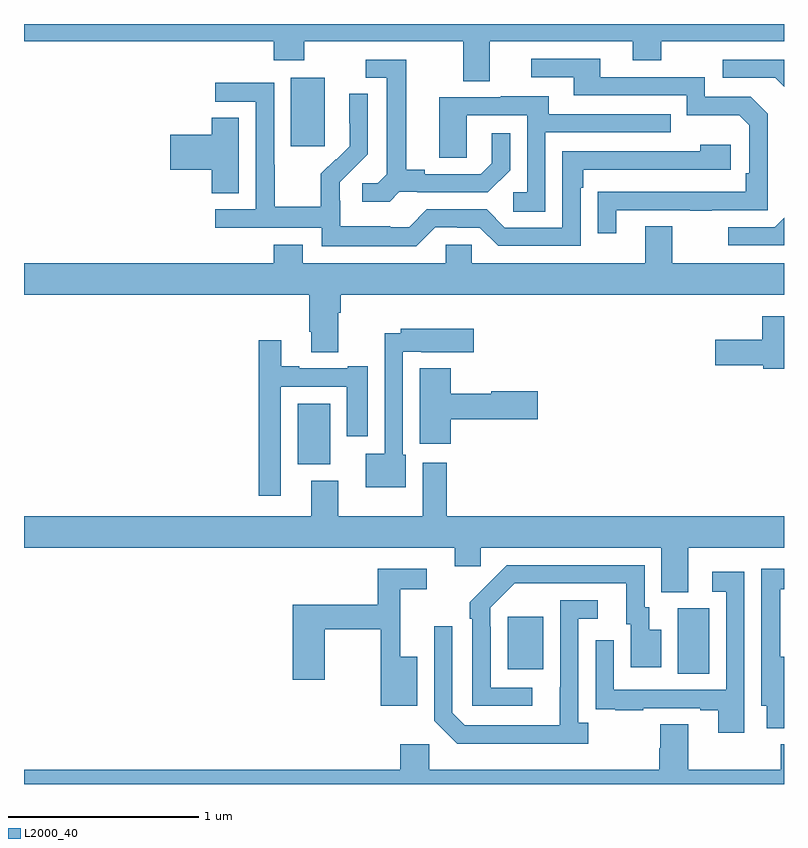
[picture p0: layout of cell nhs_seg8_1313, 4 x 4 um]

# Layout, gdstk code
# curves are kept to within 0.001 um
import gdstk
lib = gdstk.Library(unit=1e-6, precision=1e-09)
def R(c, l, rs):  # rectangles x0, y0, x1, y1
    for r in rs: c.add(gdstk.rectangle(r[:2], r[2:], *l))
def P(c, l, *ps):  # polygons
    for p in ps: c.add(gdstk.Polygon(p, *l))
L2000_40 = (2000, 40)

nhs_seg8_1313 = lib.new_cell('nhs_seg8_1313')
R(nhs_seg8_1313, L2000_40, [(196.442,1138.48,196.606,1138.824), (195.545,1138.505,195.733,1138.78), (194.441,1139.582,194.611,1139.902), (194.405,1141.257,194.584,1141.618)])
P(nhs_seg8_1313, L2000_40, [(195.451,1141.808),(196.205,1141.808),(196.205,1141.709),(196.353,1141.709),(196.353,1141.808),(197,1141.808),(197,1141.9),(193,1141.9),(193,1141.808),(194.315,1141.808),(194.315,1141.709),(194.475,1141.709),(194.475,1141.808),(195.311,1141.808),(195.311,1141.6),(195.451,1141.6)],
  [(196.117,1140.921),(196.507,1140.921),(196.507,1140.916),(196.619,1140.916),(196.619,1140.921),(196.914,1140.921),(196.914,1141.428),(196.824,1141.518),(196.584,1141.518),(196.584,1141.62),(196.033,1141.62),(196.033,1141.716),(195.669,1141.716),(195.669,1141.62),(195.893,1141.62),(195.893,1141.524),(196.488,1141.524),(196.488,1141.421),(196.765,1141.421),(196.818,1141.368),(196.818,1141.114),(196.798,1141.114),(196.798,1141.017),(196.021,1141.016),(196.021,1140.798),(196.117,1140.798)],
  [(194.976,1141.017),(195.07,1141.017),(195.07,1141.014),(195.442,1141.014),(195.558,1141.13),(195.558,1141.324),(195.461,1141.324),(195.461,1141.167),(195.404,1141.11),(195.109,1141.11),(195.109,1141.133),(195.013,1141.133),(195.013,1141.713),(194.799,1141.713),(194.799,1141.617),(194.909,1141.617),(194.909,1141.109),(194.862,1141.062),(194.781,1141.062),(194.781,1140.965),(194.924,1140.965)],
  [(197,1141.713),(196.677,1141.713),(196.677,1141.617),(196.953,1141.617),(197,1141.57)],
  [(195.165,1140.831),(195.281,1140.831),(195.281,1140.828),(195.399,1140.828),(195.495,1140.732),(195.93,1140.732),(195.93,1141.037),(195.943,1141.037),(195.943,1141.134),(196.72,1141.134),(196.72,1141.264),(196.559,1141.264),(196.559,1141.23),(195.834,1141.23),(195.834,1140.828),(195.531,1140.828),(195.435,1140.924),(195.12,1140.924),(195.027,1140.831),(194.927,1140.831),(194.927,1140.835),(194.664,1140.835),(194.664,1140.969),(194.662,1140.969),(194.662,1141.066),(194.808,1141.214),(194.808,1141.532),(194.712,1141.532),(194.712,1141.378),(194.714,1141.378),(194.714,1141.256),(194.643,1141.185),(194.64,1141.188),(194.563,1141.111),(194.563,1140.937),(194.319,1140.937),(194.319,1141.16),(194.316,1141.16),(194.316,1141.59),(194.007,1141.59),(194.007,1141.491),(194.22,1141.491),(194.22,1140.924),(194.007,1140.924),(194.007,1140.828),(194.568,1140.828),(194.568,1140.731),(195.065,1140.731)],
  [(195.744,1141.329),(196.403,1141.329),(196.403,1141.425),(195.763,1141.425),(195.763,1141.519),(195.509,1141.519),(195.509,1141.515),(195.185,1141.515),(195.185,1141.195),(195.33,1141.195),(195.33,1141.419),(195.648,1141.419),(195.648,1141.014),(195.576,1141.014),(195.576,1140.913),(195.744,1140.913)],
  [(194.131,1141.406),(193.988,1141.406),(193.988,1141.316),(193.77,1141.316),(193.77,1141.133),(193.988,1141.133),(193.988,1141.009),(194.131,1141.009)],
  [(197,1140.881),(196.95,1140.831),(196.707,1140.831),(196.707,1140.735),(197,1140.735)],
  [(194.653,1140.38),(194.666,1140.38),(194.666,1140.476),(197,1140.476),(197,1140.64),(196.411,1140.64),(196.411,1140.835),(196.271,1140.835),(196.271,1140.64),(195.357,1140.64),(195.357,1140.738),(195.219,1140.738),(195.219,1140.64),(194.467,1140.64),(194.467,1140.739),(194.315,1140.739),(194.315,1140.64),(193,1140.64),(193,1140.476),(194.501,1140.476),(194.501,1140.28),(194.513,1140.28),(194.513,1140.172),(194.653,1140.172)],
  [(197,1140.361),(196.886,1140.361),(196.886,1140.238),(196.638,1140.238),(196.638,1140.104),(196.89,1140.104),(196.89,1140.086),(197,1140.086)],
  [(195.01,1139.634),(194.994,1139.634),(194.994,1140.174),(195.091,1140.174),(195.091,1140.173),(195.367,1140.173),(195.367,1140.295),(194.982,1140.295),(194.982,1140.272),(194.898,1140.272),(194.898,1139.638),(194.798,1139.638),(194.798,1139.462),(195.01,1139.462)],
  [(194.352,1139.991),(194.699,1139.991),(194.699,1139.73),(194.809,1139.73),(194.809,1140.1),(194.705,1140.1),(194.705,1140.087),(194.449,1140.087),(194.449,1140.1),(194.353,1140.1),(194.353,1140.235),(194.236,1140.235),(194.236,1139.418),(194.352,1139.418)],
  [(195.245,1139.819),(195.703,1139.819),(195.703,1139.966),(195.459,1139.966),(195.459,1139.953),(195.245,1139.953),(195.245,1140.088),(195.083,1140.088),(195.083,1139.691),(195.245,1139.691)],
  [(196.495,1139.144),(197,1139.144),(197,1139.308),(195.224,1139.308),(195.224,1139.59),(195.098,1139.59),(195.098,1139.308),(194.653,1139.308),(194.653,1139.497),(194.513,1139.497),(194.513,1139.308),(193,1139.308),(193,1139.144),(195.266,1139.144),(195.266,1139.046),(195.405,1139.046),(195.405,1139.144),(196.355,1139.144),(196.355,1138.909),(196.495,1138.909)],
  [(195.676,1138.407),(195.456,1138.407),(195.456,1138.727),(195.453,1138.727),(195.453,1138.827),(195.582,1138.956),(196.169,1138.956),(196.169,1138.74),(196.193,1138.74),(196.193,1138.515),(196.354,1138.515),(196.354,1138.711),(196.291,1138.711),(196.291,1138.83),(196.266,1138.83),(196.266,1139.052),(195.542,1139.052),(195.345,1138.857),(195.345,1138.769),(195.36,1138.769),(195.36,1138.311),(195.676,1138.311)],
  [(195.07,1138.57),(194.981,1138.57),(194.981,1138.926),(195.121,1138.926),(195.121,1139.034),(194.863,1139.034),(194.863,1138.843),(194.414,1138.843),(194.414,1138.449),(194.584,1138.449),(194.584,1138.714),(194.878,1138.714),(194.878,1138.313),(195.07,1138.313)],
  [(197,1138.57),(196.979,1138.57),(196.979,1138.926),(197,1138.926),(197,1139.034),(196.881,1139.034),(196.881,1138.313),(196.91,1138.313),(196.91,1138.194),(197,1138.194)],
  [(196.791,1139.017),(196.623,1139.017),(196.623,1138.911),(196.695,1138.911),(196.695,1138.395),(196.104,1138.395),(196.104,1138.657),(196.008,1138.657),(196.008,1138.402),(196.009,1138.402),(196.009,1138.293),(196.111,1138.293),(196.111,1138.287),(196.259,1138.287),(196.259,1138.299),(196.559,1138.299),(196.559,1138.287),(196.655,1138.287),(196.655,1138.17),(196.791,1138.17)],
  [(195.97,1138.222),(195.918,1138.222),(195.918,1138.77),(196.021,1138.77),(196.021,1138.866),(195.822,1138.866),(195.821,1138.209),(195.321,1138.209),(195.255,1138.275),(195.255,1138.729),(195.159,1138.729),(195.159,1138.233),(195.28,1138.112),(195.97,1138.112)],
  [(197,1138.108),(196.984,1138.108),(196.984,1137.976),(196.495,1137.976),(196.495,1138.214),(196.348,1138.214),(196.348,1138.089),(196.343,1138.089),(196.343,1137.976),(195.132,1137.976),(195.132,1138.108),(194.981,1138.108),(194.981,1137.976),(193,1137.976),(193,1137.9),(197,1137.9)])

lib.write_gds('nhs_seg8_1313.gds')
